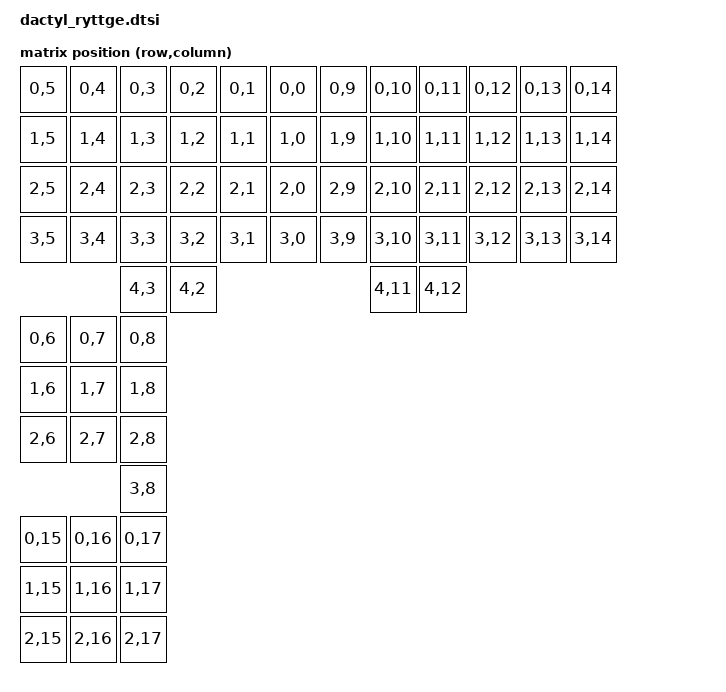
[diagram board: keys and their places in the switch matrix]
#include <dt-bindings/zmk/matrix_transform.h>
#include "dactyl_ryttge_layout.dtsi"

/*
 * Matrix: 5 rows x 9 columns per half, col2row. Both halves use the same pins.
 *
 *   Column   0          1      2       3     4      5             6   7   8
 *   Finger   inner idx  index  middle  ring  pinky  outer pinky   thumb T0-T2
 *
 * Every column is wired top-down from R0:
 *   R0-R3: all six columns (the Charybdis 4x6 block)
 *   R4:    only ring and middle (C3, C2), the extra key under each (A/B, C/D)
 *
 * Thumbs share row wires with the main body:
 *   left  thumb: rows R0-R2 x T0-T2, plus R3 x T2 (the single key under 9)
 *   right thumb: rows R0-R2 x T0-T2
 *
 * The right half is offset by 9 columns.
 */

/ {
    chosen {
        zmk,physical_layout = &dactyl_ryttge_layout;
    };

    default_transform: keymap_transform_0 {
        compatible = "zmk,matrix-transform";
        columns = <18>;
        rows = <5>;
        map = <
          // Charybdis 4x6 block
          RC(0,5) RC(0,4) RC(0,3) RC(0,2) RC(0,1) RC(0,0)     RC(0,9)  RC(0,10) RC(0,11) RC(0,12) RC(0,13) RC(0,14)
          RC(1,5) RC(1,4) RC(1,3) RC(1,2) RC(1,1) RC(1,0)     RC(1,9)  RC(1,10) RC(1,11) RC(1,12) RC(1,13) RC(1,14)
          RC(2,5) RC(2,4) RC(2,3) RC(2,2) RC(2,1) RC(2,0)     RC(2,9)  RC(2,10) RC(2,11) RC(2,12) RC(2,13) RC(2,14)
          RC(3,5) RC(3,4) RC(3,3) RC(3,2) RC(3,1) RC(3,0)     RC(3,9)  RC(3,10) RC(3,11) RC(3,12) RC(3,13) RC(3,14)
          // Extra keys below ring and middle: left ring, left middle, right middle, right ring
                          RC(4,3) RC(4,2)                              RC(4,11) RC(4,12)
          // Left thumb cluster: 3x3 grid plus one key under the last column (10 keys)
          RC(0,6) RC(0,7) RC(0,8)
          RC(1,6) RC(1,7) RC(1,8)
          RC(2,6) RC(2,7) RC(2,8)
                          RC(3,8)
          // Right thumb cluster, 3 rows x 3 columns, listed left to right as on the board
          RC(0,15) RC(0,16) RC(0,17)
          RC(1,15) RC(1,16) RC(1,17)
          RC(2,15) RC(2,16) RC(2,17)
        >;
    };
};
